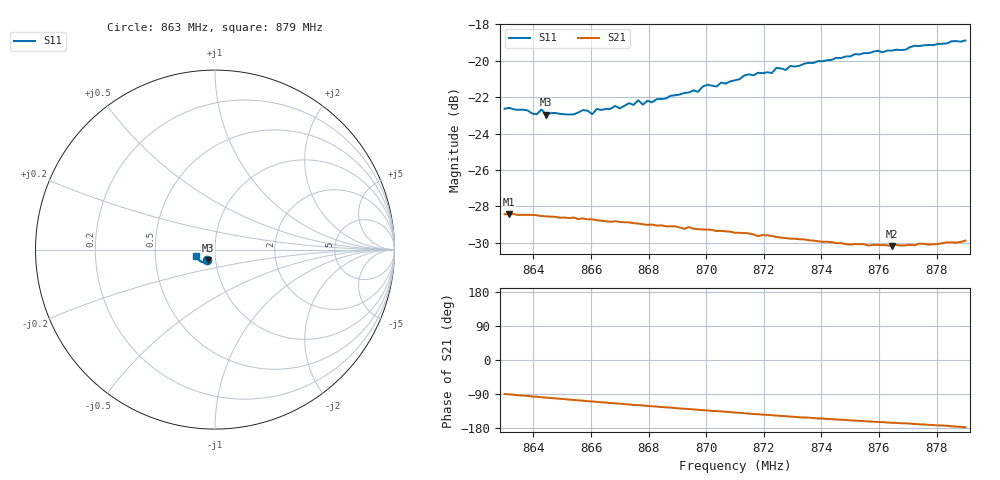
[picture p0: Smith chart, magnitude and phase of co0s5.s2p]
# HZ S RI R 50
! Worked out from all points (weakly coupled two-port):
!   101 points, 863 MHz to 879 MHz, reference 50 ohm
!   highest |S21| = -28.41 dB at 863.16 MHz (marker M1); lowest = -30.2 dB at 876.44 MHz (marker M2)
!   lowest |S11| = -23.0 dB at 864.44 MHz (marker M3), VSWR 1.15, Z = 45.9 - j5.41 ohm
!   |S11| at or under -10 dB: start of sweep to end of sweep
!   S12 and S22 are empty: the file has one direction only
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8.63e8  -0.0441 -0.0592  0.00023 -0.0379  0 0  0 0
8.6316e8  -0.0439 -0.0598  -0.000566 -0.038  0 0  0 0
8.6412e8  -0.0411 -0.0582  -0.00455 -0.0374  0 0  0 0
8.6428e8  -0.041 -0.061  -0.00537 -0.0371  0 0  0 0
8.6444e8  -0.04 -0.0587  -0.00604 -0.0369  0 0  0 0
8.654e8  -0.0383 -0.06  -0.00987 -0.0358  0 0  0 0
8.6572e8  -0.0394 -0.0617  -0.0111 -0.0352  0 0  0 0
8.6604e8  -0.038 -0.0603  -0.0122 -0.0346  0 0  0 0
8.662e8  -0.0397 -0.062  -0.0128 -0.0342  0 0  0 0
8.67e8  -0.0392 -0.0627  -0.0153 -0.0327  0 0  0 0
8.6764e8  -0.0415 -0.0659  -0.0174 -0.0312  0 0  0 0
8.678e8  -0.0402 -0.0642  -0.0178 -0.0308  0 0  0 0
8.6844e8  -0.0414 -0.0666  -0.0198 -0.0293  0 0  0 0
8.71e8  -0.0532 -0.0705  -0.0253 -0.0223  0 0  0 0
8.7148e8  -0.0559 -0.0727  -0.0263 -0.0209  0 0  0 0
8.7228e8  -0.0602 -0.0701  -0.0273 -0.0186  0 0  0 0
8.7244e8  -0.0634 -0.0714  -0.0274 -0.018  0 0  0 0
8.7276e8  -0.0628 -0.0703  -0.0277 -0.0171  0 0  0 0
8.7292e8  -0.0655 -0.071  -0.0279 -0.0166  0 0  0 0
8.7372e8  -0.0693 -0.07  -0.0286 -0.0146  0 0  0 0
8.7644e8  -0.0897 -0.0573  -0.03 -0.00764  0 0  0 0
8.79e8  -0.1068 -0.0384  -0.0321 -0.00145  0 0  0 0
